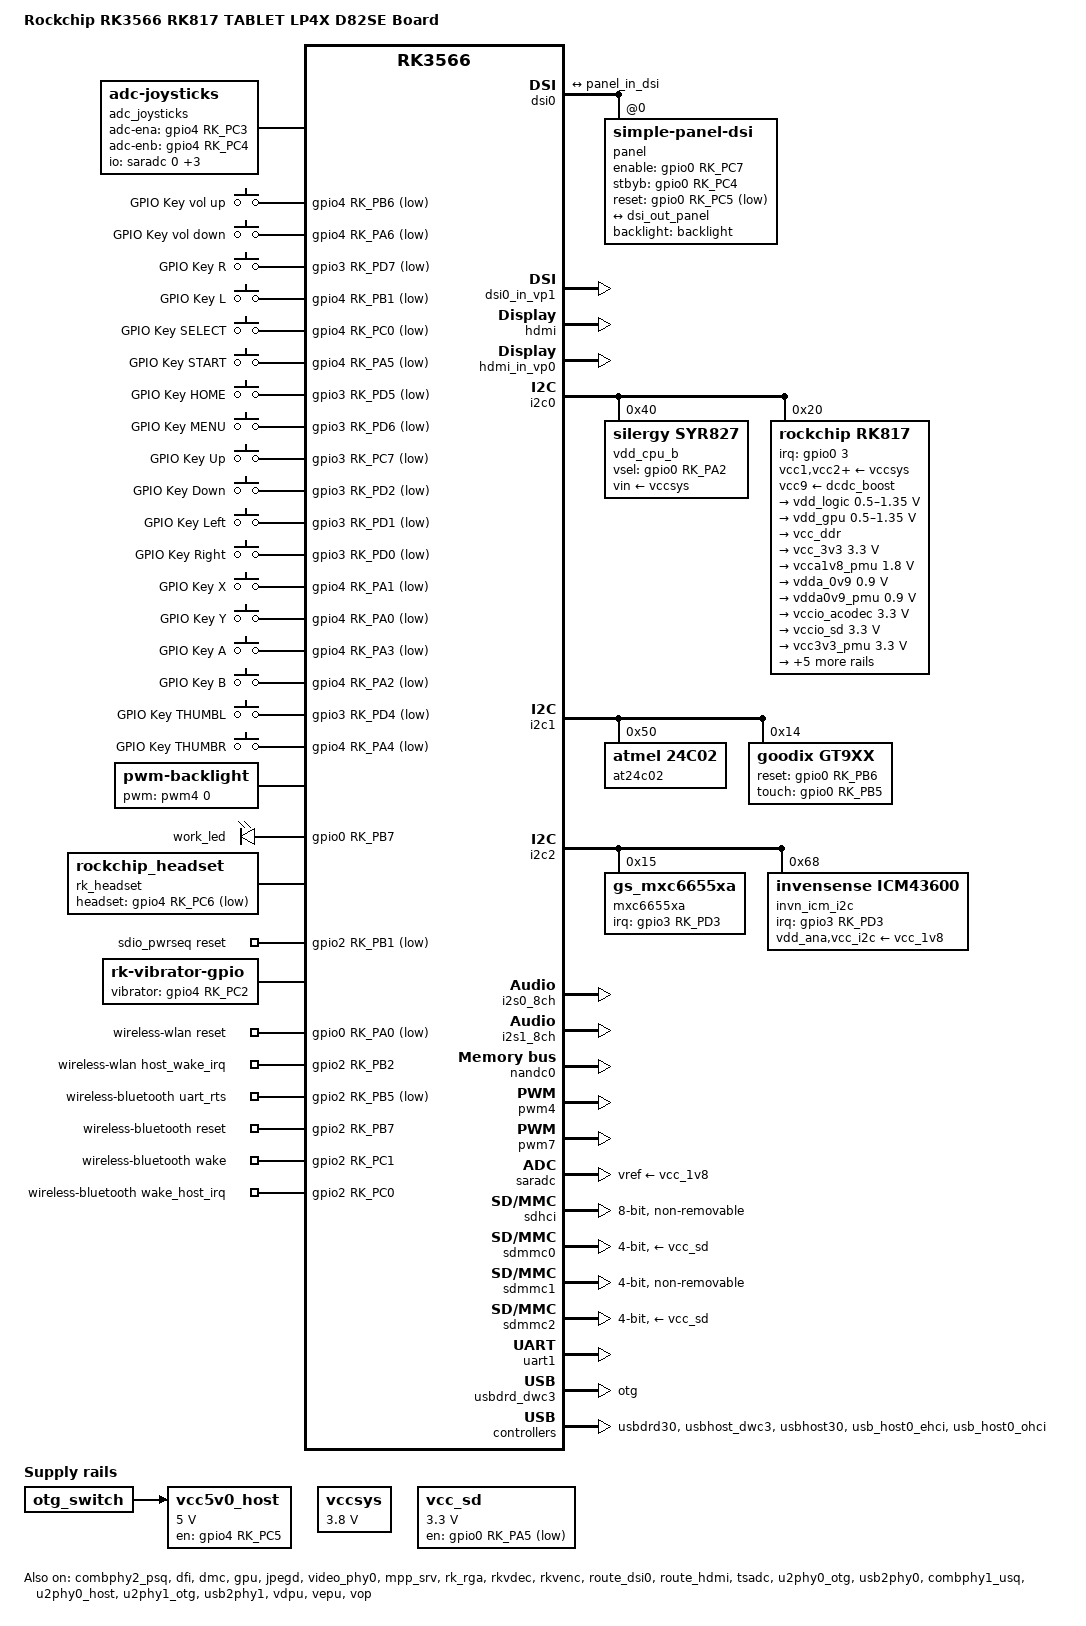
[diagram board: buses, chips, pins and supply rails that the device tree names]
// SPDX-License-Identifier: (GPL-2.0+ OR MIT)
/*
 * Copyright (c) 2020 Rockchip Electronics Co., Ltd.
 *
 */
 
/dts-v1/;

#include <dt-bindings/gpio/gpio.h>
#include <dt-bindings/pinctrl/rockchip.h>
#include <dt-bindings/input/rk-input.h>
#include <dt-bindings/sensor-dev.h>
#include <dt-bindings/display/drm_mipi_dsi.h>
#include "rk3566.dtsi"
#include "rk3568-android.dtsi"

/ {
	model = "Rockchip RK3566 RK817 TABLET LP4X D82SE Board";
	compatible = "rockchip,rk3566-rk817-tablet", "rockchip,rk3566";

	adc_joysticks: adc-joysticks {
		compatible = "adc-joysticks";
		io-channels = <&saradc 0>,<&saradc 1>,<&saradc 2>, <&saradc 3>;
		io-channel-names = "joystick_y","joystick_x","joystick_z","joystick_rz";
		adc-ena-gpios = <&gpio4 RK_PC3 GPIO_ACTIVE_HIGH>;
		adc-enb-gpios = <&gpio4 RK_PC4 GPIO_ACTIVE_HIGH>;
		keyup-threshold-microvolt = <900000>;
		poll-interval = <35>;
		num_joystick = <2>;
	};

	gpio_keys: gpio-keys {
		status = "okay";
		compatible = "gpio-keys";
		pinctrl-names = "default";
		pinctrl-0 = <&gpio_key_pin>;
		autorepeat;

		VOL_UP {
			label = "GPIO Key vol up";
			debounce-interval = <10>;
			gpios = <&gpio4 RK_PB6 GPIO_ACTIVE_LOW>;
			linux,input-type = <EV_KEY>;
			linux,code = <KEY_VOLUMEUP>;
		};

		VOL_DOWN {
			label = "GPIO Key vol down";
			debounce-interval = <10>;
			gpios = <&gpio4 RK_PA6 GPIO_ACTIVE_LOW>;
			linux,input-type = <EV_KEY>;
			linux,code = <KEY_VOLUMEDOWN>;
		};

		keyR {
			label = "GPIO Key R";
			debounce-interval = <10>;
			gpios = <&gpio3 RK_PD7 GPIO_ACTIVE_LOW>;
			linux,input-type = <EV_KEY>;
			linux,code = <BTN_TR>;
		};

		keyL {
			label = "GPIO Key L";
			debounce-interval = <10>;
			gpios = <&gpio4 RK_PB1 GPIO_ACTIVE_LOW>;
			linux,input-type = <EV_KEY>;
			linux,code = <BTN_TL>;
		};

		select {
			label = "GPIO Key SELECT";
			debounce-interval = <10>;
			gpios = <&gpio4 RK_PC0 GPIO_ACTIVE_LOW>;
			linux,input-type = <EV_KEY>;
			linux,code = <BTN_SELECT>;
		};

		start {
			label = "GPIO Key START";
			debounce-interval = <10>;
			gpios = <&gpio4 RK_PA5 GPIO_ACTIVE_LOW>;
			linux,input-type = <EV_KEY>;
			linux,code = <BTN_START>;
		};

		home {
			label = "GPIO Key HOME";
			debounce-interval = <10>;
			gpios = <&gpio3 RK_PD5 GPIO_ACTIVE_LOW>;
			linux,input-type = <EV_KEY>;
			linux,code = <KEY_HOMEPAGE>;
		};

		menu {
			label = "GPIO Key MENU";
			debounce-interval = <10>;
			gpios = <&gpio3 RK_PD6 GPIO_ACTIVE_LOW>;
			linux,input-type = <EV_KEY>;
			linux,code = <KEY_MENU>;
		};

		up {
			label = "GPIO Key Up";
			debounce-interval = <10>;
			gpios = <&gpio3 RK_PC7 GPIO_ACTIVE_LOW>;
			linux,input-type = <EV_KEY>;
			linux,code = <KEY_UP>;
		};

		down {
			label = "GPIO Key Down";
			debounce-interval = <10>;
			gpios = <&gpio3 RK_PD2 GPIO_ACTIVE_LOW>;
			linux,input-type = <EV_KEY>;
			linux,code = <KEY_DOWN>;
		};

		left {
			label = "GPIO Key Left";
			debounce-interval = <10>;
			gpios = <&gpio3 RK_PD1 GPIO_ACTIVE_LOW>;
			linux,input-type = <EV_KEY>;
			linux,code = <KEY_LEFT>;
		};

		right {
			label = "GPIO Key Right";
			debounce-interval = <10>;
			gpios = <&gpio3 RK_PD0 GPIO_ACTIVE_LOW>;
			linux,input-type = <EV_KEY>;
			linux,code = <KEY_RIGHT>;
		};

		keyX {
			label = "GPIO Key X";
			debounce-interval = <10>;
			gpios = <&gpio4 RK_PA1 GPIO_ACTIVE_LOW>;
			linux,input-type = <EV_KEY>;
			linux,code = <BTN_X>;
		};

		keyY {
			label = "GPIO Key Y";
			debounce-interval = <10>;
			gpios = <&gpio4 RK_PA0 GPIO_ACTIVE_LOW>;
			linux,input-type = <EV_KEY>;
			linux,code = <BTN_Y>;
		};

		keyA {
			label = "GPIO Key A";
			debounce-interval = <10>;
			gpios = <&gpio4 RK_PA3 GPIO_ACTIVE_LOW>;
			linux,input-type = <EV_KEY>;
			linux,code = <BTN_A>;
		};

		keyB {
			label = "GPIO Key B";
			debounce-interval = <10>;
			gpios = <&gpio4 RK_PA2 GPIO_ACTIVE_LOW>;
			linux,input-type = <EV_KEY>;
			linux,code = <BTN_B>;
		};

		ThumbL {
			label = "GPIO Key THUMBL";
			debounce-interval = <10>;
			gpios = <&gpio3 RK_PD4 GPIO_ACTIVE_LOW>;
			linux,input-type = <EV_KEY>;
			linux,code = <BTN_THUMBL>;
		};

		ThumbR {
			label = "GPIO Key THUMBR";
			debounce-interval = <10>;
			gpios = <&gpio4 RK_PA4 GPIO_ACTIVE_LOW>;
			linux,input-type = <EV_KEY>;
			linux,code = <BTN_THUMBR>;
		};
	};

	backlight: backlight {
		compatible = "pwm-backlight";
		pwms = <&pwm4 0 25000 0>;
		brightness-levels = <
			  0  20  20  21  21  22  22  23
			 23  24  24  25  25  26  26  27
			 27  28  28  29  29  30  30  31
			 31  32  32  33  33  34  34  35
			 35  36  36  37  37  38  38  39
			 40  41  42  43  44  45  46  47
			 48  49  50  50  51  52  53  54
			 55  55  56  57  58  59  60  61
			 62  63  64  64  65  65  66  67
			 68  69  70  71  71  72  73  74
			 75  76  77  78  79  79  80  81
			 82  83  84  85  86  86  87  88
			 89  90  91  92  93  94  94  95
			 96  97  98  99 100 101 101 102
			103 104 105 106 107 107 108 109
			110 111 112 113 114 115 115 116
			117 118 119 120 121 122 123 123
			124 125 126 127 128 129 130 130
			131 132 133 134 135 136 136 137
			138 139 140 141 142 143 143 144
			145 146 147 147 148 149 150 151
			152 153 154 155 156 156 157 158
			159 157 158 159 160 161 162 162
			163 164 165 166 167 168 169 169
			170 171 172 173 174 175 175 176
			177 178 179 180 181 182 182 183
			184 185 186 187 188 189 190 190
			191 192 193 194 195 196 197 197
			198 199 200 201 202 203 204 204
			205 206 207 208 209 209 210 211
			212 213 213 214 214 215 215 216
			216 217 217 218 218 219 219 220
		>;
		default-brightness-level = <128>;
	};

	charge-animation {
		compatible = "rockchip,uboot-charge";
		rockchip,uboot-charge-on = <1>;
		rockchip,android-charge-on = <0>;
		rockchip,uboot-low-power-voltage = <3350>;
		rockchip,screen-on-voltage = <3400>;
		status = "okay";
	};

	hdmi_sound: hdmi-sound {
		compatible = "simple-audio-card";
		simple-audio-card,format = "i2s";
		simple-audio-card,mclk-fs = <128>;
		simple-audio-card,name = "rockchip,hdmi";
		status = "okay";

		simple-audio-card,cpu {
				sound-dai = <&i2s0_8ch>;
		};
		simple-audio-card,codec {
				sound-dai = <&hdmi>;
		};
	};

	leds: leds {
		compatible = "gpio-leds";
		work_led: work {
			gpios = <&gpio0 RK_PB7 GPIO_ACTIVE_HIGH>;
			default-state = "on";
		};
	};

	vccsys: vccsys {
		compatible = "regulator-fixed";
		regulator-name = "vcc3v8_sys";
		regulator-always-on;
		regulator-boot-on;
		regulator-min-microvolt = <3800000>;
		regulator-max-microvolt = <3800000>;
	};

	rk817-sound {
		compatible = "simple-audio-card";
		simple-audio-card,format = "i2s";
		simple-audio-card,name = "rockchip,rk817-codec";
		simple-audio-card,mclk-fs = <256>;

		simple-audio-card,cpu {
			sound-dai = <&i2s1_8ch>;
		};
		simple-audio-card,codec {
			sound-dai = <&rk817_codec>;
		};
	};

	rk_headset: rk-headset {
		compatible = "rockchip_headset";
		headset_gpio = <&gpio4 RK_PC6 GPIO_ACTIVE_LOW>;
		pinctrl-names = "default";
		pinctrl-0 = <&hp_det>;
	///	io-channels = <&saradc 2>;
	};

	sdio_pwrseq: sdio-pwrseq {
		compatible = "mmc-pwrseq-simple";
		clocks = <&rk817 1>;
		clock-names = "ext_clock";
		pinctrl-names = "default";
		pinctrl-0 = <&wifi_enable_h>;

		/*
		 * On the module itself this is one of these (depending
		 * on the actual card populated):
		 * - SDIO_RESET_L_WL_REG_ON
		 * - PDN (power down when low)
		 */
		post-power-on-delay-ms = <200>;
		reset-gpios = <&gpio2 RK_PB1 GPIO_ACTIVE_LOW>;
	};

	vcc_sd: vcc-sd {
		compatible = "regulator-gpio";
		enable-active-low;
		enable-gpio = <&gpio0 RK_PA5 GPIO_ACTIVE_LOW>;
		regulator-min-microvolt = <3300000>;
		regulator-max-microvolt = <3300000>;
		pinctrl-names = "default";
		pinctrl-0 = <&vcc_sd_h>;
		regulator-name = "vcc_sd";
		states = <3300000 0x0
			3300000 0x1>;
	};

	vcc5v0_host: vcc5v0-host-regulator {
		compatible = "regulator-fixed";
		regulator-name = "vcc5v0_host";
		regulator-boot-on;
		regulator-always-on;
		regulator-min-microvolt = <5000000>;
		regulator-max-microvolt = <5000000>;
		enable-active-high;
		gpio = <&gpio4 RK_PC5 GPIO_ACTIVE_HIGH>;
		vin-supply = <&otg_switch>;
		pinctrl-names = "default";
		pinctrl-0 = <&vcc5v0_host_en>;
	};

	vibrator {
        compatible = "rk-vibrator-gpio";
        vibrator-gpio = <&gpio4 RK_PC2 GPIO_ACTIVE_HIGH>;
    };

	wireless-wlan {
		compatible = "wlan-platdata";
		rockchip,grf = <&grf>;
		wifi_chip_type = "rtl8821cs";
		pinctrl-names = "default";
		pinctrl-0 = <&wifi_poweren &wifi_host_wake_irq>;
		//WIFI,poweren_gpio = <&gpio0 RK_PA0 GPIO_ACTIVE_LOW>;
		//WIFI,reset_gpio = <&gpio2 RK_PB1 GPIO_ACTIVE_HIGH>;
		WIFI,reset_gpio = <&gpio0 RK_PA0 GPIO_ACTIVE_LOW>;
		WIFI,host_wake_irq = <&gpio2 RK_PB2 GPIO_ACTIVE_HIGH>;
		status = "okay";
	};

	wireless-bluetooth {
		compatible = "bluetooth-platdata";
		clocks = <&rk817 1>;
		clock-names = "ext_clock";
		//wifi-bt-power-toggle;
		uart_rts_gpios = <&gpio2 RK_PB5 GPIO_ACTIVE_LOW>;
		pinctrl-names = "default", "rts_gpio";
		pinctrl-0 = <&uart1m0_rtsn>;
		pinctrl-1 = <&uart1_gpios>;
		BT,reset_gpio    = <&gpio2 RK_PB7 GPIO_ACTIVE_HIGH>;
		BT,wake_gpio     = <&gpio2 RK_PC1 GPIO_ACTIVE_HIGH>;
		BT,wake_host_irq = <&gpio2 RK_PC0 GPIO_ACTIVE_HIGH>;
		status = "okay";
	};
};

&combphy2_psq {
	status = "okay";
};

&cpu0 {
	cpu-supply = <&vdd_cpu_b>;
};

&csi2_dphy_hw {
	status = "disabled";
};

&csi2_dphy0 {
	status = "disabled";

	ports {
		#address-cells = <1>;
		#size-cells = <0>;
		port@0 {
			reg = <0>;
			#address-cells = <1>;
			#size-cells = <0>;

			mipi_in_ucam0: endpoint@0 {
				reg = <0>;
				remote-endpoint = <&gc2385_out>;
				data-lanes = <1>;
			};
			mipi_in_ucam1: endpoint@1 {
				reg = <1>;
				remote-endpoint = <&ov8858_out>;
				data-lanes = <1 2 3 4>;
			};
		};
		port@1 {
			reg = <1>;
			#address-cells = <1>;
			#size-cells = <0>;

			csidphy0_out: endpoint@0 {
				reg = <0>;
				remote-endpoint = <&isp0_in>;
			};
		};
	};
};

&dfi {
	status = "okay";
};

&dmc {
	center-supply = <&vdd_logic>;
	auto-freq-en = <1>;
	system-status-level = <
		/*system status         freq level*/
			SYS_STATUS_NORMAL       DMC_FREQ_LEVEL_HIGH
			SYS_STATUS_REBOOT       DMC_FREQ_LEVEL_HIGH
			SYS_STATUS_SUSPEND      DMC_FREQ_LEVEL_LOW
			SYS_STATUS_VIDEO_4K     DMC_FREQ_LEVEL_HIGH
			SYS_STATUS_VIDEO_4K_10B DMC_FREQ_LEVEL_HIGH
			SYS_STATUS_BOOST        DMC_FREQ_LEVEL_HIGH
			SYS_STATUS_ISP          DMC_FREQ_LEVEL_HIGH
			SYS_STATUS_PERFORMANCE  DMC_FREQ_LEVEL_HIGH
			SYS_STATUS_DUALVIEW     DMC_FREQ_LEVEL_HIGH
	>;
	status = "okay";
};

&dsi0 {
	status = "okay";
	rockchip,lane-rate = <1000>;
	panel@0 {
		compatible = "simple-panel-dsi";
		reg = <0>;

		backlight = <&backlight>;
		//power-supply=<&vcc_1v8>;
		enable-gpios = <&gpio0 RK_PC7 GPIO_ACTIVE_HIGH>;
		stbyb-gpios = <&gpio0 RK_PC4 GPIO_ACTIVE_HIGH>;
		reset-gpios = <&gpio0 RK_PC5 GPIO_ACTIVE_LOW>;

		pinctrl-names = "default";
		pinctrl-0 = <&lcd_enable_gpio>, <&lcd_rst_gpio>, <&lcd_stanby_gpio>;

		prepare-delay-ms = <120>;
		reset-delay-ms = <120>;
		init-delay-ms = <120>;
		stbyb-delay-ms = <120>;
		enable-delay-ms = <120>;
		disable-delay-ms = <120>;
		unprepare-delay-ms = <120>;

		// width-mm = <154>;
		// height-mm = <85>;

		dsi,flags = <(MIPI_DSI_MODE_VIDEO | MIPI_DSI_MODE_VIDEO_BURST |
			      MIPI_DSI_MODE_LPM | MIPI_DSI_MODE_EOT_PACKET)>;
		dsi,format = <MIPI_DSI_FMT_RGB888>;
		dsi,lanes = <4>;

		panel-init-sequence = [
			39 00 04 FF 98 81 03
			15 00 02 01 00
			15 00 02 02 00
			15 00 02 03 53
			15 00 02 04 53
			15 00 02 05 13
			15 00 02 06 04
			15 00 02 07 02
			15 00 02 08 02
			15 00 02 09 00
			15 00 02 0a 00
			15 00 02 0b 00
			15 00 02 0c 00
			15 00 02 0d 00
			15 00 02 0e 00
			15 00 02 0f 00
			15 00 02 10 00
			15 00 02 11 00
			15 00 02 12 00
			15 00 02 13 00
			15 00 02 14 00
			15 00 02 15 00
			15 00 02 16 00
			15 00 02 17 00
			15 00 02 18 00
			15 00 02 19 00
			15 00 02 1a 00
			15 00 02 1b 00
			15 00 02 1c 00
			15 00 02 1d 00
			15 00 02 1e C0
			15 00 02 1f 80
			15 00 02 20 02
			15 00 02 21 09
			15 00 02 22 00
			15 00 02 23 00
			15 00 02 24 00
			15 00 02 25 00
			15 00 02 26 00
			15 00 02 27 00
			15 00 02 28 55
			15 00 02 29 03
			15 00 02 2a 00
			15 00 02 2b 00
			15 00 02 2c 00
			15 00 02 2d 00
			15 00 02 2e 00
			15 00 02 2f 00
			15 00 02 30 00
			15 00 02 31 00
			15 00 02 32 00
			15 00 02 33 00
			15 00 02 34 03
			15 00 02 35 00
			15 00 02 36 05
			15 00 02 37 00
			15 00 02 38 3C
			15 00 02 39 00
			15 00 02 3a 00
			15 00 02 3b 00
			15 00 02 3c 00
			15 00 02 3d 00
			15 00 02 3e 00
			15 00 02 3f 00
			15 00 02 40 00
			15 00 02 41 00
			15 00 02 42 00
			15 00 02 43 00
			15 00 02 44 00
			
			15 00 02 50 01
			15 00 02 51 23
			15 00 02 52 45
			15 00 02 53 67
			15 00 02 54 89
			15 00 02 55 ab
			15 00 02 56 01
			15 00 02 57 23
			15 00 02 58 45
			15 00 02 59 67
			15 00 02 5a 89
			15 00 02 5b ab
			15 00 02 5c cd
			15 00 02 5d ef
			
			15 00 02 5e 01
			15 00 02 5f 14
			15 00 02 60 15
			15 00 02 61 0C
			15 00 02 62 0D
			15 00 02 63 0E
			15 00 02 64 0F
			15 00 02 65 10
			15 00 02 66 11
			15 00 02 67 08
			15 00 02 68 02
			15 00 02 69 0A
			15 00 02 6a 02
			15 00 02 6b 02
			15 00 02 6c 02
			15 00 02 6d 02
			15 00 02 6e 02
			15 00 02 6f 02
			15 00 02 70 02
			15 00 02 71 02
			15 00 02 72 06
			15 00 02 73 02
			15 00 02 74 02
			15 00 02 75 14
			15 00 02 76 15
			15 00 02 77 0F
			15 00 02 78 0E
			15 00 02 79 0D
			15 00 02 7a 0C
			15 00 02 7b 11
			15 00 02 7c 10
			15 00 02 7d 06
			15 00 02 7e 02
			15 00 02 7f 0A
			15 00 02 80 02
			15 00 02 81 02
			15 00 02 82 02
			15 00 02 83 02
			15 00 02 84 02
			15 00 02 85 02
			15 00 02 86 02
			15 00 02 87 02
			15 00 02 88 08
			15 00 02 89 02
			15 00 02 8A 02
			
			39 00 04 FF 98 81 04
			
			15 00 02 6C 15
			15 00 02 6E 2F
			15 00 02 6F 55
			15 00 02 3A A4
			15 00 02 8D 1F
			15 00 02 87 BA
			15 00 02 26 76
			15 00 02 B2 D1
			15 00 02 88 0B
			
			39 00 04 FF 98 81 01
			
			15 00 02 22 0A
			15 00 02 31 00
			15 00 02 53 8A
			15 00 02 55 88
			15 00 02 50 C0
			15 00 02 51 C0
			15 00 02 60 2B
			15 00 02 A0 08
			15 00 02 A1 1E
			15 00 02 A2 2C
			15 00 02 A3 15
			15 00 02 A4 18
			15 00 02 A5 2A
			15 00 02 A6 1F
			15 00 02 A7 1F
			15 00 02 A8 85
			15 00 02 A9 1C
			15 00 02 AA 2A
			15 00 02 AB 72
			15 00 02 AC 1A
			15 00 02 AD 18
			15 00 02 AE 4C
			15 00 02 AF 20
			15 00 02 B0 26
			15 00 02 B1 4A
			15 00 02 B2 57
			15 00 02 B3 2C
			15 00 02 C0 08
			15 00 02 C1 1B
			15 00 02 C2 27
			15 00 02 C3 12
			15 00 02 C4 14
			15 00 02 C5 25
			15 00 02 C6 1A
			15 00 02 C7 1D
			15 00 02 C8 7A
			15 00 02 C9 1A
			15 00 02 CA 28
			15 00 02 CB 6B
			15 00 02 CC 1F
			15 00 02 CD 1D
			15 00 02 CE 52
			15 00 02 CF 24
			15 00 02 D0 2D
			15 00 02 D1 47
			15 00 02 D2 55
			15 00 02 D3 2C
			
			39 00 04 FF 98 81 00
			
			15 00 02 35 00
			05 78 01 11
			05 0A 01 29 
		];

		panel-exit-sequence = [
			05 dc 01 28
			05 78 01 10
		];

		display-timings {
			native-mode = <&timing0>;

			timing0: timing0 {
				clock-frequency = <60000000>;
				hactive = <720>;
				vactive = <1280>;
				hfront-porch = <20>;
				hsync-len = <10>;
				hback-porch = <60>;
				vfront-porch = <30>;
				vsync-len = <10>;
				vback-porch = <30>;
				hsync-active = <0>;
				vsync-active = <0>;
				de-active = <0>;
				pixelclk-active = <0>;
			};
		};

		ports {
			#address-cells = <1>;
			#size-cells = <0>;

			port@0 {
				reg = <0>;
				panel_in_dsi: endpoint {
					remote-endpoint = <&dsi_out_panel>;
				};
			};
		};
	};

	ports {
		#address-cells = <1>;
		#size-cells = <0>;

		port@1 {
			reg = <1>;
			dsi_out_panel: endpoint {
				remote-endpoint = <&panel_in_dsi>;
			};
		};
	};

};

&dsi0_in_vp0 {
	status = "disabled";
};

&dsi0_in_vp1 {
	status = "okay";
};

&gpu {
	mali-supply = <&vdd_gpu>;
	status = "okay";
};


&edp {
	status = "disabled";
};

&edp_phy {
	status = "disabled";
};

&edp_in_vp0 {
	status = "disabled";
};

&edp_in_vp1 {
	status = "disabled";
};

&route_edp {
	status = "disabled";
};

&hdmi {
	status = "okay";
};

&hdmi_in_vp0 {
	status = "okay";
};

&hdmi_in_vp1 {
	status = "disabled";
};

&hdmi_sound {
	status = "okay";
};

&i2c0 {
	status = "okay";

	vdd_cpu_b: syr837@40 {
		compatible = "silergy,syr827";
		reg = <0x40>;
		vin-supply = <&vccsys>;
		regulator-compatible = "fan53555-reg";
		//pinctrl-0 = <&vsel1_gpio>;
		vsel-gpios = <&gpio0 RK_PA2 GPIO_ACTIVE_HIGH>;
		regulator-name = "vdd_cpu_b";
		regulator-min-microvolt = <712500>;
		regulator-max-microvolt = <1500000>;
		regulator-ramp-delay = <2300>;
		fcs,suspend-voltage-selector = <1>;
		regulator-always-on;
		regulator-initial-state = <3>;
		regulator-state-mem {
			regulator-on-in-suspend;
		};
	};

	rk817: pmic@20 {
		compatible = "rockchip,rk817";
		reg = <0x20>;
		interrupt-parent = <&gpio0>;
		interrupts = <3 IRQ_TYPE_LEVEL_LOW>;

		pinctrl-names = "default", "pmic-sleep",
				"pmic-power-off", "pmic-reset";
		pinctrl-0 = <&pmic_int>;
		pinctrl-1 = <&soc_slppin_slp>, <&rk817_slppin_slp>;
		pinctrl-2 = <&soc_slppin_gpio>, <&rk817_slppin_pwrdn>;
		pinctrl-3 = <&soc_slppin_gpio>, <&rk817_slppin_rst>;
		rockchip,system-power-controller;
		wakeup-source;
		#clock-cells = <1>;
		clock-output-names = "rk808-clkout1", "rk808-clkout2";
		//fb-inner-reg-idxs = <2>;
		/* 1: rst regs (default in codes), 0: rst the pmic */
		pmic-reset-func = <0>;
		/* not save the PMIC_POWER_EN register in uboot */
		not-save-power-en = <1>;

		vcc1-supply = <&vccsys>;
		vcc2-supply = <&vccsys>;
		vcc3-supply = <&vccsys>;
		vcc4-supply = <&vccsys>;
		vcc5-supply = <&vccsys>;
		vcc6-supply = <&vccsys>;
		vcc7-supply = <&vccsys>;
		vcc8-supply = <&vccsys>;
		vcc9-supply = <&dcdc_boost>;

		pwrkey {
			status = "okay";
		};

		pinctrl_rk8xx: pinctrl_rk8xx {
			gpio-controller;
			#gpio-cells = <2>;

			rk817_slppin_null: rk817_slppin_null {
				pins = "gpio_slp";
				function = "pin_fun0";
			};

			rk817_slppin_slp: rk817_slppin_slp {
				pins = "gpio_slp";
				function = "pin_fun1";
			};

			rk817_slppin_pwrdn: rk817_slppin_pwrdn {
				pins = "gpio_slp";
				function = "pin_fun2";
			};

			rk817_slppin_rst: rk817_slppin_rst {
				pins = "gpio_slp";
				function = "pin_fun3";
			};
		};

		regulators {
			vdd_logic: DCDC_REG1 {
				regulator-always-on;
				regulator-boot-on;
				regulator-min-microvolt = <500000>;
				regulator-max-microvolt = <1350000>;
				regulator-init-microvolt = <900000>;
				regulator-ramp-delay = <6001>;
				regulator-initial-mode = <0x2>;
				regulator-name = "vdd_logic";
				regulator-state-mem {
					regulator-on-in-suspend;
					regulator-suspend-microvolt = <900000>;
				};
			};

			vdd_gpu: DCDC_REG2 {
				regulator-always-on;
				regulator-boot-on;
				regulator-min-microvolt = <500000>;
				regulator-max-microvolt = <1350000>;
				regulator-init-microvolt = <900000>;
				regulator-ramp-delay = <6001>;
				regulator-initial-mode = <0x2>;
				regulator-name = "vdd_gpu";
				regulator-state-mem {
					regulator-off-in-suspend;
				};
			};

			vcc_ddr: DCDC_REG3 {
				regulator-always-on;
				regulator-boot-on;
				regulator-initial-mode = <0x2>;
				regulator-name = "vcc_ddr";
				regulator-state-mem {
					regulator-on-in-suspend;
				};
			};

			vcc_3v3: DCDC_REG4 {
				regulator-always-on;
				regulator-boot-on;
				regulator-min-microvolt = <3300000>;
				regulator-max-microvolt = <3300000>;
				regulator-initial-mode = <0x2>;
				regulator-name = "vcc_3v3";
				regulator-state-mem {
					regulator-off-in-suspend;
				};
			};

			vcca1v8_pmu: LDO_REG1 {
				regulator-always-on;
				regulator-boot-on;
				regulator-min-microvolt = <1800000>;
				regulator-max-microvolt = <1800000>;
				regulator-name = "vcca1v8_pmu";
				regulator-state-mem {
					regulator-on-in-suspend;
					regulator-suspend-microvolt = <1800000>;
				};
			};

			vdda_0v9: LDO_REG2 {
				regulator-always-on;
				regulator-boot-on;
				regulator-min-microvolt = <900000>;
				regulator-max-microvolt = <900000>;
				regulator-name = "vdda_0v9";
				regulator-state-mem {
					regulator-off-in-suspend;
				};
			};

			vdda0v9_pmu: LDO_REG3 {
				regulator-always-on;
				regulator-boot-on;
				regulator-min-microvolt = <900000>;
				regulator-max-microvolt = <900000>;
				regulator-name = "vdda0v9_pmu";
				regulator-state-mem {
					regulator-on-in-suspend;
					regulator-suspend-microvolt = <900000>;
				};
			};

			vccio_acodec: LDO_REG4 {
				regulator-always-on;
				regulator-boot-on;
				regulator-min-microvolt = <3300000>;
				regulator-max-microvolt = <3300000>;
				regulator-name = "vccio_acodec";
				regulator-state-mem {
					regulator-off-in-suspend;
				};
			};

			vccio_sd: LDO_REG5 {
				regulator-always-on;
				regulator-boot-on;
				regulator-min-microvolt = <3300000>;
				regulator-max-microvolt = <3300000>;
				regulator-name = "vccio_sd";
				regulator-state-mem {
					regulator-off-in-suspend;
				};
			};

			vcc3v3_pmu: LDO_REG6 {
				regulator-always-on;
				regulator-boot-on;
				regulator-min-microvolt = <3300000>;
				regulator-max-microvolt = <3300000>;
				regulator-name = "vcc3v3_pmu";
				regulator-state-mem {
					regulator-on-in-suspend;
					regulator-suspend-microvolt = <3000000>;
				};
			};

			vcc_1v8: LDO_REG7 {
				regulator-always-on;
				regulator-boot-on;
				regulator-min-microvolt = <1800000>;
				regulator-max-microvolt = <1800000>;
				regulator-name = "vcc_1v8";
				regulator-state-mem {
					regulator-off-in-suspend;
				};
			};

			vcc1v8_dvp: LDO_REG8 {
				regulator-always-on;
				regulator-boot-on;
				regulator-min-microvolt = <1800000>;
				regulator-max-microvolt = <1800000>;
				regulator-name = "vcc1v8_dvp";
				regulator-state-mem {
					regulator-off-in-suspend;
				};
			};

			vcc2v8_dvp: LDO_REG9 {
				regulator-always-on;
				regulator-boot-on;
				regulator-min-microvolt = <2800000>;
				regulator-max-microvolt = <2800000>;
				regulator-name = "vcc2v8_dvp";
				regulator-state-mem {
					regulator-off-in-suspend;
				};
			};

			dcdc_boost: BOOST {
				regulator-always-on;
				regulator-boot-on;
				regulator-min-microvolt = <4700000>;
				regulator-max-microvolt = <5400000>;
				regulator-name = "boost";
				regulator-state-mem {
					regulator-off-in-suspend;
				};
			};

			otg_switch: OTG_SWITCH {
				regulator-name = "otg_switch";
				regulator-state-mem {
					regulator-off-in-suspend;
				};
			};
		};

		battery {
			compatible = "rk817,battery";
			ocv_table = <3502 3543 3568 3591 3612 3628 3640
				     3654 3668 3686 3710 3742 3792 3837
				     3879 3922 3979 4028 4076 4134 4178>;
			design_capacity = <3500>;
			design_qmax = <3850>;
			bat_res = <100>;
			sleep_enter_current = <150>;
			sleep_exit_current = <180>;
			sleep_filter_current = <100>;
			power_off_thresd = <3400>;
			zero_algorithm_vol = <3850>;
			max_soc_offset = <60>;
			monitor_sec = <5>;
			sample_res = <10>;
			virtual_power = <0>;
		};

		charger {
			compatible = "rk817,charger";
			min_input_voltage = <4500>;
			max_input_current = <3000>;
			max_chrg_current = <2000>;
			max_chrg_voltage = <4300>;
			chrg_term_mode = <0>;
			chrg_finish_cur = <300>;
			virtual_power = <0>;
			dc_det_adc = <0>;
			extcon = <&usb2phy0>;
			gate_function_disable = <1>;
		};

		rk817_codec: codec {
			#sound-dai-cells = <0>;
			compatible = "rockchip,rk817-codec";
			clocks = <&cru I2S1_MCLKOUT>;
			clock-names = "mclk";
			assigned-clocks = <&cru I2S1_MCLKOUT>, <&cru I2S1_MCLK_TX_IOE>;
			assigned-clock-rates = <12288000>;
			assigned-clock-parents = <&cru I2S1_MCLKOUT_TX>, <&cru I2S1_MCLKOUT_TX>;
			pinctrl-names = "default";
			pinctrl-0 = <&i2s1m0_mclk>;
			hp-volume = <20>;
			spk-volume = <3>;
			out-l2spk-r2hp;
			use-ext-amplifier;
			mic-in-differential;
			capture-volume = <0>;
			spk-ctl-gpios = <&gpio0 RK_PA6 GPIO_ACTIVE_HIGH>;
			status = "okay";
		};
	};
};

&rockchip_suspend {
	status = "okay";
	rockchip,sleep-mode-config = <
		(0
			| RKPM_SLP_ARMOFF_LOGOFF
			| RKPM_SLP_CENTER_OFF
			| RKPM_SLP_HW_PLLS_OFF
			| RKPM_SLP_PMUALIVE_32K
			| RKPM_SLP_OSC_DIS
			//| RKPM_SLP_PMIC_LP
			| RKPM_SLP_32K_PVTM
		)
	>;
	rockchip,wakeup-config = <
		(0
		//| RKPM_PWM0_WKUP_EN
		| RKPM_GPIO_WKUP_EN
		//| RKPM_CPU0_WKUP_EN
		)
	>;
};

&i2c1 {
	status = "okay";
	at24c02: at24c02@50 {
		compatible = "atmel,24c02";
		reg = <0x50>;
	};
	ts@40 {
		compatible = "gslX680-pad";
		reg = <0x40>;
		touch-gpio = <&gpio0 RK_PB5 IRQ_TYPE_LEVEL_HIGH>;
		reset-gpio = <&gpio0 RK_PB6 GPIO_ACTIVE_LOW>;
		//pinctrl-names = "default";
		//pinctrl-0 = <&tp_gpio>;
		screen_max_x = <1024>;
		screen_max_y = <600>;
		revert_x = <1>;
		revert_y = <1>;
		revert_xy = <0>;
		chip_id = <0>;
		status = "disabled";
	};

	gt9xx: gt9xx@14 {
		compatible = "goodix,gt9xx";
		reg = <0x14>;
		//power-supply = <&vcc_3v3>;
		reset-gpio = <&gpio0 RK_PB6 GPIO_ACTIVE_HIGH>;
		touch-gpio = <&gpio0 RK_PB5 IRQ_TYPE_LEVEL_LOW>;
		max-x = <1080>;
		max-y = <1920>;
		revert_xy = <0>;
		revert_x = <0>;
		revert_y = <1>;
		tp-size = <911>;
	};
};

&i2c2 {
	status = "okay";
	pinctrl-0 = <&i2c2m1_xfer>;

	mxc6655xa: mxc6655xa@15 {
		status = "okay";
		compatible = "gs_mxc6655xa";
		pinctrl-names = "default";
		pinctrl-0 = <&mxc6655xa_irq_gpio>;
		reg = <0x15>;
		irq-gpio = <&gpio3 RK_PD3 IRQ_TYPE_LEVEL_LOW>;
		irq_enable = <0>;
		poll_delay_ms = <30>;
		type = <SENSOR_TYPE_ACCEL>;
		power-off-in-suspend = <1>;
		layout = <3>;
	};

	gc2385: gc2385@37 {
		compatible = "galaxycore,gc2385";
		status = "disabled";
		reg = <0x37>;
		clocks = <&cru CLK_CIF_OUT>;
		clock-names = "xvclk";
		power-domains = <&power RK3568_PD_VI>;
		pinctrl-names = "rockchip,camera_default";
		pinctrl-0 = <&cif_clk>;

		//reset pin control by hardware,used this pin switch to mipi input
		//1->2LANE(LANE 0&1) FRONT camera, 0->4LANE REAR camera
		reset-gpios = <&gpio4 17 GPIO_ACTIVE_LOW>;
		pwdn-gpios = <&gpio4 10 GPIO_ACTIVE_HIGH>;
		rockchip,camera-module-index = <1>;
		rockchip,camera-module-facing = "front";
		rockchip,camera-module-name = "HS5885-BNSM1018-V01";
		rockchip,camera-module-lens-name = "default";
		port {
			gc2385_out: endpoint {
				remote-endpoint = <&mipi_in_ucam0>;
				data-lanes = <1>;
			};
		};
	};

	ov8858: ov8858@36 {
		status = "disabled";
		compatible = "ovti,ov8858";
		reg = <0x36>;
		clocks = <&cru CLK_CAM0_OUT>;
		clock-names = "xvclk";
		power-domains = <&power RK3568_PD_VI>;
		pinctrl-names = "rockchip,camera_default", "rockchip,camera_sleep";
		pinctrl-0 = <&cam_clkout0>;
		pinctrl-1 = <&cam_sleep>;
		//reset pin control by hardware,used this pin switch to mipi input
		//1->2LANE(LANE 0&1) FRONT camera, 0->4LANE REAR camera
		reset-gpios = <&gpio4 17 GPIO_ACTIVE_LOW>;
		pwdn-gpios = <&gpio4 11 GPIO_ACTIVE_HIGH>;
		rockchip,camera-module-index = <0>;
		rockchip,camera-module-facing = "back";
		rockchip,camera-module-name = "HS5885-BNSM1018-V01";
		rockchip,camera-module-lens-name = "default";
		//flash-leds = <&flash_rgb13h>;
		//lens-focus = <&dw9714>;
		port {
			ov8858_out: endpoint {
				remote-endpoint = <&mipi_in_ucam1>;
				data-lanes = <1 2 3 4>;
			};
		};
	};

	invn_icm_i2c: icm43600@68 {
		compatible = "invensense,icm43600";
		reg = <0x68>;
		interrupt-parent = <&gpio3>;
		interrupts = <RK_PD3 IRQ_TYPE_EDGE_RISING>;
		inven,vdd_ana-supply = <&vcc_1v8>;
		inven,vcc_i2c-supply = <&vcc_1v8>;
		axis_map_x = <0>;
		axis_map_y = <1>;
		axis_map_z = <2>;
		negate_x = <1>;
		negate_y = <1>;
		negate_z = <0>;
		inven,secondary_type = "none";
		inven,aux_type = "none";
		inven,read_only_slave_type = "none";
	};
};

&i2c3 {
	status = "disabled";
	pinctrl-names = "default";
	pinctrl-0 = <&i2c3m1_xfer>;
	clock-frequency = <400000>;
	i2c-scl-rising-time-ns = <138>;
	i2c-scl-falling-time-ns = <4>;

};
&i2c4 {
	status = "disabled";
};

&i2c5 {
	status = "disabled";
	clock-frequency = <400000>;
	i2c-scl-rising-time-ns = <144>;
	i2c-scl-falling-time-ns = <4>;
/*
	sensor@18 {
		compatible = "gs_sc7a20";
		reg = <0x18>;
		type = <SENSOR_TYPE_ACCEL>;
		irq_enable = <0>;
		pinctrl-names = "default";
		pinctrl-0 = <&sensor_gpio>;
		irq-gpio = <&gpio3 RK_PA2 IRQ_TYPE_EDGE_RISING>;
		poll_delay_ms = <10>;
		layout = <1>;
	};
	*/
};

&i2s0_8ch {
	status = "okay";
};

&i2s1_8ch {
	status = "okay";
	rockchip,clk-trcm = <1>;
	pinctrl-names = "default";
	pinctrl-0 = <&i2s1m0_sclktx
				&i2s1m0_lrcktx
				&i2s1m0_sdi0
				&i2s1m0_sdo0>;
};

&jpegd {
	status = "okay";
};

&jpegd_mmu {
	status = "okay";
};

&video_phy0 {
	status = "okay";
};

&mpp_srv {
	status = "okay";
};

&nandc0 {
	status = "okay";
};

&pinctrl {
	buttons {
		gpio_key_pin: gpio-key-pin {
			rockchip,pins = <3 RK_PC7 RK_FUNC_GPIO &pcfg_pull_up>,
							<3 RK_PD0 RK_FUNC_GPIO &pcfg_pull_up>,
							<3 RK_PD1 RK_FUNC_GPIO &pcfg_pull_up>,
							<3 RK_PD2 RK_FUNC_GPIO &pcfg_pull_up>,
							<3 RK_PD4 RK_FUNC_GPIO &pcfg_pull_up>,
							<3 RK_PD5 RK_FUNC_GPIO &pcfg_pull_up>,
							<3 RK_PD6 RK_FUNC_GPIO &pcfg_pull_up>,
							<3 RK_PD7 RK_FUNC_GPIO &pcfg_pull_up>,
							<4 RK_PA0 RK_FUNC_GPIO &pcfg_pull_up>,
							<4 RK_PA1 RK_FUNC_GPIO &pcfg_pull_up>,
							<4 RK_PA2 RK_FUNC_GPIO &pcfg_pull_up>,
							<4 RK_PA3 RK_FUNC_GPIO &pcfg_pull_up>,
							<4 RK_PA4 RK_FUNC_GPIO &pcfg_pull_up>,
							<4 RK_PA5 RK_FUNC_GPIO &pcfg_pull_up>,
							<4 RK_PA6 RK_FUNC_GPIO &pcfg_pull_up>,
							<4 RK_PB1 RK_FUNC_GPIO &pcfg_pull_up>,
							<4 RK_PB6 RK_FUNC_GPIO &pcfg_pull_up>,
							<4 RK_PC0 RK_FUNC_GPIO &pcfg_pull_up>,
							<4 RK_PC1 RK_FUNC_GPIO &pcfg_pull_up>;
		};
	};

	mxc6655xa {
		mxc6655xa_irq_gpio: mxc6655xa_irq_gpio {
			rockchip,pins = <3 RK_PD3 RK_FUNC_GPIO &pcfg_pull_none>;
		};
	};

	cam {
		cam_clkout0: cam-clkout0 {
			rockchip,pins =
				/* cam_clkout0 */
				<4 RK_PA7 1 &pcfg_pull_none>;
		};

		cam_sleep: cam-sleep {
			rockchip,pins =
				/* cam_sleep */
				<4 RK_PA7 RK_FUNC_GPIO &pcfg_pull_none>;
		};
	};
/*
	tp {
		tp_gpio: tp-gpio {
			rockchip,pins = <0 RK_PB5 RK_FUNC_GPIO &pcfg_pull_up>,
							<0 RK_PB6 RK_FUNC_GPIO &pcfg_pull_none>;
		};
	};
*/
	headphone {
		hp_det: hp-det {
			rockchip,pins = <4 RK_PC4 RK_FUNC_GPIO &pcfg_pull_down>;
		};
	};

	lcd {
		lcd_rst_gpio: lcd-rst-gpio {
			rockchip,pins = <0 RK_PC5 RK_FUNC_GPIO &pcfg_pull_none>;
		};

		lcd_enable_gpio: lcd-enable-gpio {
			rockchip,pins = <0 RK_PC7 RK_FUNC_GPIO &pcfg_pull_none>;
		};

		lcd_stanby_gpio: lcd-stanby-gpio {
			rockchip,pins = <0 RK_PC4 RK_FUNC_GPIO &pcfg_pull_up>;
		};
	};

	pmic {
		pmic_int: pmic_int {
			rockchip,pins =
				<0 RK_PA3 RK_FUNC_GPIO &pcfg_pull_up>;
		};

		soc_slppin_gpio: soc_slppin_gpio {
			rockchip,pins =
				<0 RK_PA2 RK_FUNC_GPIO &pcfg_output_low_pull_down>;
		};

		soc_slppin_slp: soc_slppin_slp {
			rockchip,pins =
				<0 RK_PA2 1 &pcfg_pull_up>;
		};

		soc_slppin_rst: soc_slppin_rst {
			rockchip,pins =
				<0 RK_PA2 2 &pcfg_pull_none>;
		};
	};

	sensor {
		sensor_gpio: sensor-gpio {
			rockchip,pins = <3 RK_PA2 RK_FUNC_GPIO &pcfg_pull_none>;
		};
	};

	sdio-pwrseq {
		wifi_enable_h: wifi-enable-h {
			rockchip,pins = <2 RK_PB1 RK_FUNC_GPIO &pcfg_pull_none>;
		};
	};

	vcc_sd {
		vcc_sd_h: vcc-sd-h {
			rockchip,pins = <0 RK_PA5 RK_FUNC_GPIO &pcfg_pull_none>;
		};
	};

	wireless-wlan {
		wifi_host_wake_irq: wifi-host-wake-irq {
			rockchip,pins = <2 RK_PB2 RK_FUNC_GPIO &pcfg_pull_down>;
		};
		wifi_poweren: wifi-poweren {
			rockchip,pins = <0 RK_PA0 RK_FUNC_GPIO &pcfg_pull_down>;
		};
	};

	wireless-bluetooth {
		uart1_gpios: uart1-gpios {
			rockchip,pins = <2 RK_PB5 RK_FUNC_GPIO &pcfg_pull_none>;
		};
	};

	usb {
		vcc5v0_host_en: vcc5v0-host-en {
			rockchip,pins = <4 RK_PC5 RK_FUNC_GPIO &pcfg_pull_none>;
		};
	};
};

&pmu_io_domains {
	status = "okay";
	pmuio2-supply = <&vcc3v3_pmu>;
	vccio1-supply = <&vccio_acodec>;
	vccio3-supply = <&vccio_sd>;
	vccio4-supply = <&vcc_1v8>;
	vccio5-supply = <&vcc_1v8>;
	vccio6-supply = <&vcc_1v8>;
	vccio7-supply = <&vcc_3v3>;
};

&pwm4 {
	status = "okay";
};

&pwm7 {
	status = "okay";
};

&rk_rga {
	status = "okay";
};

&rkisp {
	status = "disabled";
};

&rkisp_mmu {
	status = "disabled";
};

&rkisp_vir0 {
	status = "disabled";

	port {
		#address-cells = <1>;
		#size-cells = <0>;

		isp0_in: endpoint@0 {
			reg = <0>;
			remote-endpoint = <&csidphy0_out>;
		};
	};
};

&rkvdec {
	status = "okay";
};

&rkvdec_mmu {
	status = "okay";
};

&rkvenc {
	status = "okay";
};

&rkvenc_mmu {
	status = "okay";
};

&route_dsi0 {
	status = "okay";
	connect = <&vp1_out_dsi0>;
};

&route_hdmi {
	status = "okay";
	connect = <&vp0_out_hdmi>;
};

&saradc {
	status = "okay";
	vref-supply = <&vcc_1v8>;
};

&sdhci {
	bus-width = <8>;
	supports-emmc;
	non-removable;
	max-frequency = <200000000>;
	status = "okay";
};

&sdmmc0 {
	max-frequency = <50000000>;
	supports-sd;
	bus-width = <4>;
	cap-mmc-highspeed;
	cap-sd-highspeed;
	disable-wp;
	//sd-uhs-sdr104;
	vmmc-supply = <&vcc_sd>;
	vqmmc-supply = <&vccio_sd>;
	pinctrl-names = "default";
	pinctrl-0 = <&sdmmc0_bus4 &sdmmc0_clk &sdmmc0_cmd &sdmmc0_det>;
	status = "okay";
};

&sdmmc1 {
	max-frequency = <150000000>;
	no-sd;
	no-mmc;
	supports-sdio;
	bus-width = <4>;
	disable-wp;
	cap-sd-highspeed;
	cap-sdio-irq;
	keep-power-in-suspend;
	mmc-pwrseq = <&sdio_pwrseq>;
	non-removable;
	pinctrl-names = "default";
	pinctrl-0 = <&sdmmc1_bus4 &sdmmc1_cmd &sdmmc1_clk>;
	sd-uhs-sdr104;
	rockchip,default-sample-phase = <90>;
	status = "okay";
};

&sdmmc2{
	max-frequency = <50000000>;
	supports-sd;
	bus-width = <4>;
	cap-mmc-highspeed;
	cap-sd-highspeed;
	disable-wp;
	mmc-pwrseq = <&sdmmc2m1_pwren>;
	//sd-uhs-sdr104;
	vmmc-supply = <&vcc_sd>;
	vqmmc-supply = <&vccio_sd>;
	pinctrl-names = "default";
	pinctrl-0 = <&sdmmc2m1_bus4 &sdmmc2m1_clk &sdmmc2m1_cmd >;
	status = "okay";
};

&tsadc {
	status = "okay";
};

&uart1 {
	status = "okay";
	pinctrl-names = "default";
	pinctrl-0 = <&uart1m0_xfer &uart1m0_ctsn>;
};

//otg usb2.0
&u2phy0_otg {
  //vbus-supply = <&otg_switch>;
	status = "okay";
};

&usb2phy0 {
	status = "okay";
};

&usbdrd_dwc3 {
  dr_mode = "otg";
	status = "okay";
};

&usbdrd30 {
	status = "okay";
};


//host1 usb3.0
&combphy1_usq {
	status = "okay";
};

&u2phy0_host {
	phy-supply = <&vcc5v0_host>;
	status = "okay";
};

&usb2phy0 {
	status = "okay";
	};

&usbhost_dwc3 {
	status = "okay";
};

&usbhost30 {
	status = "okay";
};

//host2 usb2.0
&u2phy1_otg {
	phy-supply = <&vcc5v0_host>;
	status = "okay";
};

&usb2phy1 {
	status = "okay";
};

&usb_host0_ehci {
	status = "okay";
};

&usb_host0_ohci {
	status = "okay";
};

&vdpu {
	status = "okay";
};

&vdpu_mmu {
	status = "okay";
};

&vepu {
	status = "okay";
};

&vepu_mmu {
	status = "okay";
};

&vop {
	status = "okay";
	assigned-clocks = <&cru DCLK_VOP0>, <&cru DCLK_VOP1>;
	assigned-clock-parents = <&pmucru PLL_HPLL>, <&cru PLL_VPLL>;
};

&vop_mmu {
	status = "okay";
};
